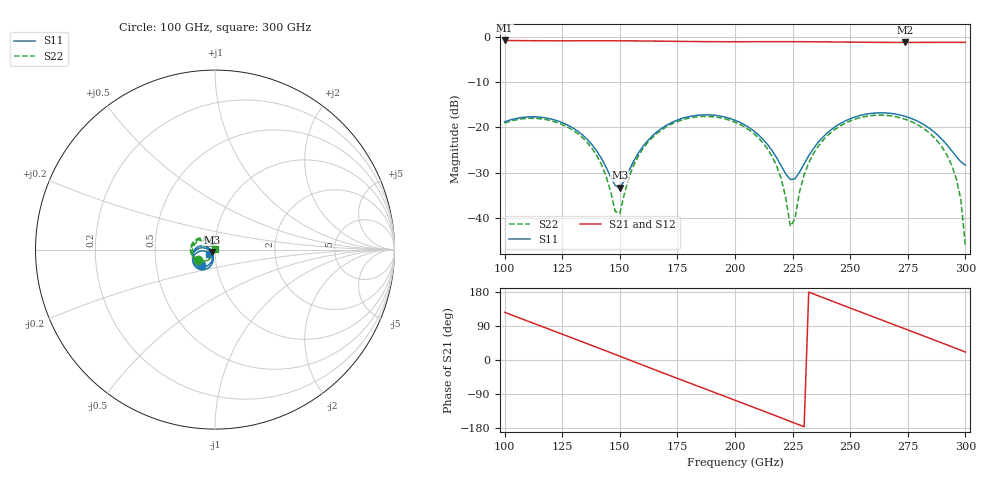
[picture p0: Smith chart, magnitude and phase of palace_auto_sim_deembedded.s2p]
! Created with skrf 1.11.0 (http://scikit-rf.org).
# GHz S DB R 50.0
!freq dBS11 angS11 dBS21 angS21 dBS12 angS12 dBS22 angS22
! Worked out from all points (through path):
!   101 points, 100 GHz to 300 GHz, reference 50 ohm
!   highest |S21| = -0.82 dB at 100 GHz (marker M1); lowest = -1.3 dB at 274 GHz (marker M2)
!   group delay of S21, straight-line fit = 6.46 ps
!   lowest |S11| = -33.2 dB at 150 GHz (marker M3), VSWR 1.04, Z = 48.2 - j1.22 ohm
!   |S11| at or under -10 dB: start of sweep to end of sweep
!   |S22| runs from -46.2 to -17.3 dB; largest |S21 - S12| = 1e-13
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100  -18.75 -132.0  -0.82 125.9  -0.82 125.9  -19.04 -148.2
116  -17.75 -163.2  -0.89 89.0  -0.89 89.0  -18.11 176.5
134  -21.73 165.6  -0.89 47.3  -0.89 47.3  -22.35 138.4
142  -26.78 161.5  -0.89 28.7  -0.89 28.7  -28.13 127.1
148  -32.80 -169.1  -0.89 14.6  -0.89 14.6  -38.48 157.1
150  -33.23 -144.5  -0.90 9.9  -0.90 9.9  -38.96 -151.9
156  -27.43 -106.7  -0.92 -4.2  -0.92 -4.2  -28.33 -116.4
168  -20.24 -114.2  -0.98 -32.2  -0.98 -32.2  -20.59 -135.3
184  -17.28 -142.4  -1.07 -69.3  -1.07 -69.3  -17.62 -170.2
200  -18.40 -171.4  -1.10 -106.2  -1.10 -106.2  -18.83 153.9
216  -25.02 171.5  -1.09 -143.3  -1.09 -143.3  -26.28 121.4
220  -28.39 179.0  -1.09 -152.7  -1.09 -152.7  -31.22 118.4
224  -31.47 -152.9  -1.09 -162.0  -1.09 -162.0  -41.78 152.5
230  -27.99 -106.5  -1.10 -176.1  -1.10 -176.1  -30.43 -113.2
234  -24.66 -100.1  -1.11 174.5  -1.11 174.5  -25.79 -117.1
248  -18.52 -114.0  -1.18 141.8  -1.18 141.8  -19.01 -145.7
268  -16.91 -148.0  -1.25 95.6  -1.25 95.6  -17.47 168.8
274  -17.56 -157.9  -1.25 81.7  -1.25 81.7  -18.20 155.0
286  -20.80 -173.0  -1.24 53.9  -1.24 53.9  -21.98 127.4
294  -25.07 -170.5  -1.23 35.2  -1.23 35.2  -28.24 109.7
298  -27.56 -156.2  -1.24 25.8  -1.24 25.8  -35.78 103.3
300  -28.30 -143.8  -1.24 21.1  -1.24 21.1  -46.15 111.1
